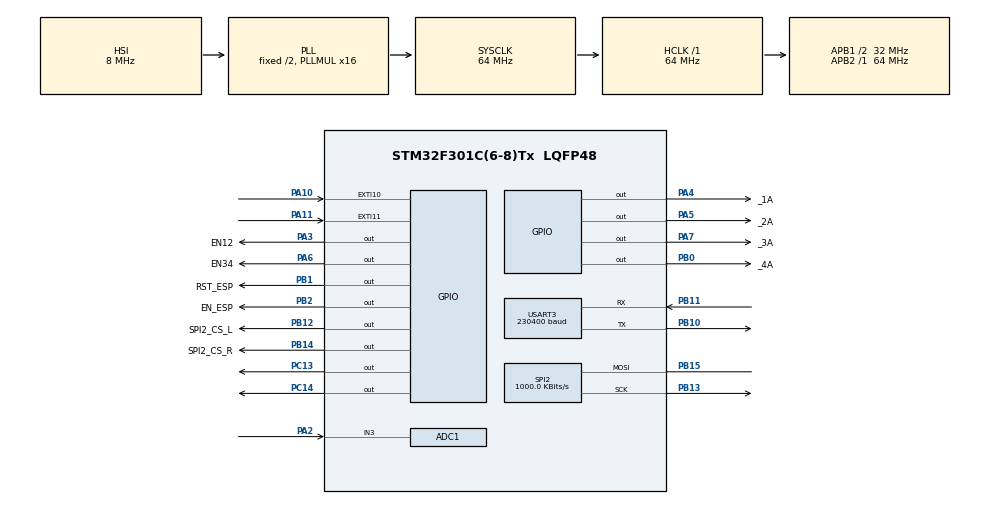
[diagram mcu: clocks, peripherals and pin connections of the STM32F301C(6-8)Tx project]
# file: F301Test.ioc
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ADC1.Channel-2\#ChannelRegularConversion=ADC_CHANNEL_3
ADC1.ClockPrescaler=ADC_CLOCK_ASYNC_DIV1
ADC1.ContinuousConvMode=ENABLE
ADC1.DMAContinuousRequests=DISABLE
ADC1.EOCSelection=ADC_EOC_SINGLE_CONV
ADC1.EnableAnalogWatchDog1=false
ADC1.NbrOfConversionFlag=1
ADC1.Offset-2\#ChannelRegularConversion=0
ADC1.OffsetNumber-2\#ChannelRegularConversion=ADC_OFFSET_NONE
ADC1.Rank-2\#ChannelRegularConversion=1
ADC1.Resolution=ADC_RESOLUTION_12B
ADC1.SamplingTime-2\#ChannelRegularConversion=ADC_SAMPLETIME_1CYCLE_5
ADC1.SamplingTimeOPAMP-2\#ChannelRegularConversion=ADC_SAMPLETIME_4CYCLES_5
ADC1.SubFamily=STM32F301x8
ADC1.master=1
Dma.Request0=USART3_RX
Dma.Request1=USART3_TX
Dma.USART3_RX.0.Direction=DMA_PERIPH_TO_MEMORY
Dma.USART3_RX.0.Instance=DMA1_Channel3
Dma.USART3_RX.0.MemDataAlignment=DMA_MDATAALIGN_BYTE
Dma.USART3_RX.0.MemInc=DMA_MINC_ENABLE
Dma.USART3_RX.0.Mode=DMA_CIRCULAR
Dma.USART3_RX.0.PeriphDataAlignment=DMA_PDATAALIGN_BYTE
Dma.USART3_RX.0.PeriphInc=DMA_PINC_DISABLE
Dma.USART3_RX.0.Priority=DMA_PRIORITY_HIGH
Dma.USART3_TX.1.Direction=DMA_MEMORY_TO_PERIPH
Dma.USART3_TX.1.Instance=DMA1_Channel2
Dma.USART3_TX.1.MemDataAlignment=DMA_MDATAALIGN_BYTE
Dma.USART3_TX.1.MemInc=DMA_MINC_ENABLE
Dma.USART3_TX.1.Mode=DMA_NORMAL
Dma.USART3_TX.1.PeriphDataAlignment=DMA_PDATAALIGN_BYTE
Dma.USART3_TX.1.PeriphInc=DMA_PINC_DISABLE
Dma.USART3_TX.1.Priority=DMA_PRIORITY_MEDIUM
FREERTOS.INCLUDE_xEventGroupSetBitFromISR=1
FREERTOS.INCLUDE_xTimerPendFunctionCall=1
FREERTOS.Tasks01=PS_Measure,0,96,psMeasure,Default,NULL,Dynamic,NULL,NULL;PC_13_LED,0,96,pc13LedCntrl,Default,NULL,Dynamic,NULL,NULL;PC_14_LED,0,96,pc14LedCntrl,Default,NULL,Dynamic,NULL,NULL;EspCommunication,1,256,espCommunication,Default,NULL,Dynamic,NULL,NULL;Accelerometer,0,96,accelerometer,Default,NULL,Dynamic,NULL,NULL
FREERTOS.configMAX_TASK_NAME_LEN=18
FREERTOS.configMINIMAL_STACK_SIZE=96
FREERTOS.configTOTAL_HEAP_SIZE=3840
FREERTOS.configUSE_TIMERS=1
Mcu.Family=STM32F3
Mcu.Name=STM32F301C(6-8)Tx
Mcu.Package=LQFP48
NVIC.DMA1_Channel2_IRQn=true\:5\:0\:false\:false\:true\:true\:false\:true\:true
NVIC.DMA1_Channel3_IRQn=true\:5\:0\:false\:false\:true\:true\:false\:true\:true
NVIC.EXTI15_10_IRQn=true\:5\:0\:false\:false\:true\:true\:true\:true\:true
NVIC.PriorityGroup=NVIC_PRIORITYGROUP_4
NVIC.TIM6_DAC_IRQn=true\:4\:0\:true\:false\:true\:false\:false\:true\:true
NVIC.TimeBase=TIM6_DAC_IRQn
NVIC.TimeBaseIP=TIM6
PA10.Signal=GPXTI10
PA11.Signal=GPXTI11
PA13.Mode=Serial_Wire
PA13.Signal=SYS_JTMS-SWDIO
PA14.Mode=Serial_Wire
PA14.Signal=SYS_JTCK-SWCLK
PA2.Mode=IN3-Single-Ended
PA2.Signal=ADC1_IN3
PA3.GPIO_Label=EN12
PA3.GPIO_Speed=GPIO_SPEED_FREQ_HIGH
PA3.Signal=GPIO_Output
PA4.GPIO_Label=_1A
PA4.GPIO_Speed=GPIO_SPEED_FREQ_HIGH
PA4.Signal=GPIO_Output
PA5.GPIO_Label=_2A
PA5.GPIO_Speed=GPIO_SPEED_FREQ_HIGH
PA5.Signal=GPIO_Output
PA6.GPIO_Label=EN34
PA6.GPIO_Speed=GPIO_SPEED_FREQ_HIGH
PA6.Signal=GPIO_Output
PA7.GPIO_Label=_3A
PA7.GPIO_Speed=GPIO_SPEED_FREQ_HIGH
PA7.Signal=GPIO_Output
PB0.GPIO_Label=_4A
PB0.GPIO_Speed=GPIO_SPEED_FREQ_HIGH
PB0.Signal=GPIO_Output
PB1.GPIO_Label=RST_ESP
PB1.Signal=GPIO_Output
PB10.Mode=Asynchronous
PB10.Signal=USART3_TX
PB11.Mode=Asynchronous
PB11.Signal=USART3_RX
PB12.GPIO_Label=SPI2_CS_L
PB12.GPIO_Speed=GPIO_SPEED_FREQ_MEDIUM
PB12.Signal=GPIO_Output
PB13.Mode=Simplex_Bidirectional_Master
PB13.Signal=SPI2_SCK
PB14.GPIO_Label=SPI2_CS_R
PB14.GPIO_Speed=GPIO_SPEED_FREQ_MEDIUM
PB14.Signal=GPIO_Output
PB15.Mode=Simplex_Bidirectional_Master
PB15.Signal=SPI2_MOSI
PB2.GPIO_Label=EN_ESP
PB2.Signal=GPIO_Output
PC13.Signal=GPIO_Output
PC14\ -\ OSC32_IN.Signal=GPIO_Output
ProjectManager.HeapSize=0x200
ProjectManager.StackSize=0x400
ProjectManager.TargetToolchain=STM32CubeIDE
RCC.ADC12PRES=RCC_ADC1PLLCLK_DIV2
RCC.AHBFreq_Value=64000000
RCC.APB1CLKDivider=RCC_HCLK_DIV2
RCC.APB1Freq_Value=32000000
RCC.APB1TimFreq_Value=64000000
RCC.APB2Freq_Value=64000000
RCC.APB2TimFreq_Value=64000000
RCC.CortexFreq_Value=64000000
RCC.HCLKFreq_Value=64000000
RCC.HSE_VALUE=8000000
RCC.HSI_VALUE=8000000
RCC.LSE_VALUE=32768
RCC.PLLMUL=RCC_PLL_MUL16
RCC.SYSCLKFreq_VALUE=64000000
RCC.SYSCLKSourceVirtual=RCC_SYSCLKSOURCE_PLLCLK
SPI2.BaudRatePrescaler=SPI_BAUDRATEPRESCALER_32
SPI2.CLKPhase=SPI_PHASE_2EDGE
SPI2.CLKPolarity=SPI_POLARITY_HIGH
SPI2.CalculateBaudRate=1000.0 KBits/s
SPI2.DataSize=SPI_DATASIZE_8BIT
SPI2.Direction=SPI_DIRECTION_1LINE
SPI2.Mode=SPI_MODE_MASTER
SPI2.VirtualType=VM_MASTER
TIM15.Period=400
TIM15.Prescaler=10
TIM17.AutoReloadPreload=TIM_AUTORELOAD_PRELOAD_ENABLE
TIM17.Period=100
TIM17.Prescaler=639
USART3.BaudRate=230400
USART3.VirtualMode-Asynchronous=VM_ASYNC
VP_FREERTOS_VS_CMSIS_V1.Mode=CMSIS_V1
VP_SYS_VS_tim6.Mode=TIM6
VP_TIM15_VS_ClockSourceINT.Mode=Internal
VP_TIM17_VS_ClockSourceINT.Mode=Enable_Timer
board=custom

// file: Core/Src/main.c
/* USER CODE BEGIN Header */
/**
  ******************************************************************************
  * @file           : main.c
  * @brief          : Main program body
  ******************************************************************************
  * @attention
  *
  * Copyright (c) 2023 STMicroelectronics.
  * All rights reserved.
  *
  * This software is licensed under terms that can be found in the LICENSE file
  * in the root directory of this software component.
  * If no LICENSE file comes with this software, it is provided AS-IS.
  *
  ******************************************************************************
  */
/* USER CODE END Header */
#include "main.h"
#include "cmsis_os.h"

/* USER CODE BEGIN Includes */
#include <string.h>
#include <stdio.h>
#include <math.h>
#include <espATcommands.h>
#include <adxl345.h>
/* USER CODE END Includes */

ADC_HandleTypeDef hadc1;

SPI_HandleTypeDef hspi2;

TIM_HandleTypeDef htim15;
TIM_HandleTypeDef htim17;

UART_HandleTypeDef huart3;
DMA_HandleTypeDef hdma_usart3_rx;
DMA_HandleTypeDef hdma_usart3_tx;

osThreadId PS_MeasureHandle;
osThreadId PC_13_LEDHandle;
osThreadId PC_14_LEDHandle;
osThreadId EspCommunicationHandle;
osThreadId AccelerometerHandle;
/* USER CODE BEGIN PV */
volatile uint16_t batteryVoltage[10]; // Battery voltage.
uint16_t avrBatVoltage;
uint8_t BatChargeState;
EventGroupHandle_t pc13EventGroup;
EventGroupHandle_t pc14EventGroup;

struct EncoderStr EncoderR, EncoderL;
struct SoftPWM SoftPwmR, SoftPwmL;

float kToRpm;

char txBuffer[ESPTXBUFFERSIZE];
volatile char rxBuffer[ESPRXBUFFERSIZE];
volatile uint16_t rxBufferHead;
uint8_t receivedBytes = 0;
char rxBufferCopy[256];

TimerHandle_t timerForDataSending;
EventGroupHandle_t timerFdsEventGroup;

//int8_t joyX;
//int8_t joyY;
float tSpeed;
float aSpeed;

int16_t accelValueR[3];
int16_t accelValueL[3];

uint32_t debugVar;
uint32_t debugVar2;

volatile uint32_t cycle_count;
/* USER CODE END PV */

void SystemClock_Config(void);
static void MX_GPIO_Init(void);
static void MX_DMA_Init(void);
static void MX_ADC1_Init(void);
static void MX_SPI2_Init(void);
static void MX_USART3_UART_Init(void);
static void MX_TIM15_Init(void);
static void MX_TIM17_Init(void);
void psMeasure(void const * argument);
void pc13LedCntrl(void const * argument);
void pc14LedCntrl(void const * argument);
void espCommunication(void const * argument);
void accelerometer(void const * argument);

/* USER CODE BEGIN PFP */
void ADC1_configuration(void);
void TIM1_configuration(void);
void TIM2_configuration(void);
void TIM15_additional_configuration(void);
void TIM17_additional_configuration(void);
void USART3_additional_configuration(void);

void timerForSendDataCallback(TimerHandle_t xTimer);

/* USER CODE END PFP */

int main(void)
{
  /* USER CODE BEGIN 1 */
	avrBatVoltage = 0;
	BatChargeState = 0;

//	EncoderR.timeNew = 0;
//	EncoderR.timeOld = 0;
//	EncoderR.timeUpdate = 0;
	EncoderR.positionNew = 0;
	EncoderR.positionOld = 0;
	EncoderR.posCntUpdate = 0;
	EncoderR.rpm = 0;
	EncoderR.pulses = 0;
	EncoderR.sumPulses = 0;
	EncoderR.iter = 0;

//	EncoderL.timeNew = 0;
//	EncoderL.timeOld = 0;
//	EncoderL.timeUpdate = 0;
	EncoderL.positionNew = 0;
	EncoderL.positionOld = 0;
	EncoderL.posCntUpdate = 0;
	EncoderL.rpm = 0;
	EncoderL.pulses = 0;

	SoftPwmR.errorValue = 0;
	SoftPwmR.sumValue = 0;
	SoftPwmR.pValue = 0;
	SoftPwmR.iValue = 0;
	SoftPwmR.pwmFloatValue = 0;
	SoftPwmR.WheelSpeed = 0;
	SoftPwmR.reqValueTemp = 0;
	SoftPwmR.curValue = 0;
	SoftPwmR.reqValue = 0;
	SoftPwmR.pwmValue = 0;
	SoftPwmR.status = 0;
	SoftPwmR.sumVal = 0;
	SoftPwmR.pVal = 0;
	SoftPwmR.iVal = 0;

	SoftPwmL.errorValue = 0;
	SoftPwmL.sumValue = 0;
	SoftPwmL.pValue = 0;
	SoftPwmL.iValue = 0;
	SoftPwmL.pwmFloatValue = 0;
	SoftPwmL.WheelSpeed = 0;
	SoftPwmL.reqValueTemp = 0;
	SoftPwmL.curValue = 0;
	SoftPwmL.reqValue = 0;
	SoftPwmL.pwmValue = 0;
	SoftPwmL.status = 0;
	SoftPwmL.sumVal = 0;
	SoftPwmL.pVal = 0;
	SoftPwmL.iVal = 0;

	kToRpm = (1000*60)/10240;

	memset(txBuffer, '\0', sizeof(txBuffer));
	memset(rxBuffer, '\0', sizeof(rxBuffer));
	rxBufferHead = 0;
	memset(rxBufferCopy, '\0', sizeof(rxBufferCopy));

//	joyX = 0;
//	joyY = 0;
	tSpeed = 0;
	aSpeed = 0;

	memset(accelValueR, '0', sizeof(accelValueR));
	memset(accelValueL, '0', sizeof(accelValueL));

	debugVar = 0;
	debugVar2 = 0;

	cycle_count = 0;

  /* USER CODE END 1 */

  /* MCU Configuration--------------------------------------------------------*/

  /* Reset of all peripherals, Initializes the Flash interface and the Systick. */
  HAL_Init();

  /* Configure the system clock */
  SystemClock_Config();

  /* Initialize all configured peripherals */
  MX_GPIO_Init();
  MX_DMA_Init();
  MX_ADC1_Init();
  MX_SPI2_Init();
  MX_USART3_UART_Init();
  MX_TIM15_Init();
  MX_TIM17_Init();
  /* USER CODE BEGIN 2 */
  ADC1_configuration();
  TIM1_configuration();
  TIM2_configuration();
  TIM17_additional_configuration();
  TIM15_additional_configuration();
  USART3_additional_configuration();

  GPIOA->ODR |= (1<<6); //EN34
  GPIOA->ODR |= (1<<3); //EN12

  DWT->CTRL |= (1<<0);  //Enable cycle counter
  DWT->CTRL |= (1<<0);  //Enable cycle counter

  pc13EventGroup = xEventGroupCreate();
  pc14EventGroup = xEventGroupCreate();
  timerFdsEventGroup = xEventGroupCreate();
  /* USER CODE END 2 */

  /* USER CODE BEGIN RTOS_TIMERS */
  /* start timers, add new ones, ... */
  timerForDataSending = xTimerCreate("TimerForDataSending", pdMS_TO_TICKS(211), pdTRUE, 1, timerForSendDataCallback); //211
  xTimerStart(timerForDataSending, portMAX_DELAY);
  /* USER CODE END RTOS_TIMERS */

  /* Create the thread(s) */
  /* definition and creation of PS_Measure */
  osThreadDef(PS_Measure, psMeasure, osPriorityNormal, 0, 96);
  PS_MeasureHandle = osThreadCreate(osThread(PS_Measure), NULL);

  /* definition and creation of PC_13_LED */
  osThreadDef(PC_13_LED, pc13LedCntrl, osPriorityNormal, 0, 96);
  PC_13_LEDHandle = osThreadCreate(osThread(PC_13_LED), NULL);

  /* definition and creation of PC_14_LED */
  osThreadDef(PC_14_LED, pc14LedCntrl, osPriorityNormal, 0, 96);
  PC_14_LEDHandle = osThreadCreate(osThread(PC_14_LED), NULL);

  /* definition and creation of EspCommunication */
  osThreadDef(EspCommunication, espCommunication, osPriorityAboveNormal, 0, 256);
  EspCommunicationHandle = osThreadCreate(osThread(EspCommunication), NULL);

  /* definition and creation of Accelerometer */
  osThreadDef(Accelerometer, accelerometer, osPriorityNormal, 0, 96);
  AccelerometerHandle = osThreadCreate(osThread(Accelerometer), NULL);

  /* Start scheduler */
  osKernelStart();

  /* We should never get here as control is now taken by the scheduler */
  /* Infinite loop */
  while (1)
  {

  }
}

void SystemClock_Config(void)
{
  RCC_OscInitTypeDef RCC_OscInitStruct = {0};
  RCC_ClkInitTypeDef RCC_ClkInitStruct = {0};
  RCC_PeriphCLKInitTypeDef PeriphClkInit = {0};

  /** Initializes the RCC Oscillators according to the specified parameters
  * in the RCC_OscInitTypeDef structure.
  */
  RCC_OscInitStruct.OscillatorType = RCC_OSCILLATORTYPE_HSI;
  RCC_OscInitStruct.HSIState = RCC_HSI_ON;
  RCC_OscInitStruct.HSICalibrationValue = RCC_HSICALIBRATION_DEFAULT;
  RCC_OscInitStruct.PLL.PLLState = RCC_PLL_ON;
  RCC_OscInitStruct.PLL.PLLSource = RCC_PLLSOURCE_HSI;
  RCC_OscInitStruct.PLL.PLLMUL = RCC_PLL_MUL16;
  if (HAL_RCC_OscConfig(&RCC_OscInitStruct) != HAL_OK)
  {
    Error_Handler();
  }

  /** Initializes the CPU, AHB and APB buses clocks
  */
  RCC_ClkInitStruct.ClockType = RCC_CLOCKTYPE_HCLK|RCC_CLOCKTYPE_SYSCLK
                              |RCC_CLOCKTYPE_PCLK1|RCC_CLOCKTYPE_PCLK2;
  RCC_ClkInitStruct.SYSCLKSource = RCC_SYSCLKSOURCE_PLLCLK;
  RCC_ClkInitStruct.AHBCLKDivider = RCC_SYSCLK_DIV1;
  RCC_ClkInitStruct.APB1CLKDivider = RCC_HCLK_DIV2;
  RCC_ClkInitStruct.APB2CLKDivider = RCC_HCLK_DIV1;

  if (HAL_RCC_ClockConfig(&RCC_ClkInitStruct, FLASH_LATENCY_2) != HAL_OK)
  {
    Error_Handler();
  }
  PeriphClkInit.PeriphClockSelection = RCC_PERIPHCLK_TIM15|RCC_PERIPHCLK_TIM17
                              |RCC_PERIPHCLK_ADC1;
  PeriphClkInit.Tim15ClockSelection = RCC_TIM15CLK_HCLK;
  PeriphClkInit.Tim17ClockSelection = RCC_TIM17CLK_HCLK;
  PeriphClkInit.Adc1ClockSelection = RCC_ADC1PLLCLK_DIV2;

  if (HAL_RCCEx_PeriphCLKConfig(&PeriphClkInit) != HAL_OK)
  {
    Error_Handler();
  }
}

static void MX_ADC1_Init(void)
{

  ADC_ChannelConfTypeDef sConfig = {0};

  /** Common config
  */
  hadc1.Instance = ADC1;
  hadc1.Init.ClockPrescaler = ADC_CLOCK_ASYNC_DIV1;
  hadc1.Init.Resolution = ADC_RESOLUTION_12B;
  hadc1.Init.ScanConvMode = ADC_SCAN_DISABLE;
  hadc1.Init.ContinuousConvMode = ENABLE;
  hadc1.Init.DiscontinuousConvMode = DISABLE;
  hadc1.Init.ExternalTrigConvEdge = ADC_EXTERNALTRIGCONVEDGE_NONE;
  hadc1.Init.ExternalTrigConv = ADC_SOFTWARE_START;
  hadc1.Init.DataAlign = ADC_DATAALIGN_RIGHT;
  hadc1.Init.NbrOfConversion = 1;
  hadc1.Init.DMAContinuousRequests = DISABLE;
  hadc1.Init.EOCSelection = ADC_EOC_SINGLE_CONV;
  hadc1.Init.LowPowerAutoWait = DISABLE;
  hadc1.Init.Overrun = ADC_OVR_DATA_OVERWRITTEN;
  if (HAL_ADC_Init(&hadc1) != HAL_OK)
  {
    Error_Handler();
  }

  /** Configure Regular Channel
  */
  sConfig.Channel = ADC_CHANNEL_3;
  sConfig.Rank = ADC_REGULAR_RANK_1;
  sConfig.SingleDiff = ADC_SINGLE_ENDED;
  sConfig.SamplingTime = ADC_SAMPLETIME_1CYCLE_5;
  sConfig.OffsetNumber = ADC_OFFSET_NONE;
  sConfig.Offset = 0;
  if (HAL_ADC_ConfigChannel(&hadc1, &sConfig) != HAL_OK)
  {
    Error_Handler();
  }

}

static void MX_SPI2_Init(void)
{

  /* SPI2 parameter configuration*/
  hspi2.Instance = SPI2;
  hspi2.Init.Mode = SPI_MODE_MASTER;
  hspi2.Init.Direction = SPI_DIRECTION_1LINE;
  hspi2.Init.DataSize = SPI_DATASIZE_8BIT;
  hspi2.Init.CLKPolarity = SPI_POLARITY_HIGH;
  hspi2.Init.CLKPhase = SPI_PHASE_2EDGE;
  hspi2.Init.NSS = SPI_NSS_SOFT;
  hspi2.Init.BaudRatePrescaler = SPI_BAUDRATEPRESCALER_32;
  hspi2.Init.FirstBit = SPI_FIRSTBIT_MSB;
  hspi2.Init.TIMode = SPI_TIMODE_DISABLE;
  hspi2.Init.CRCCalculation = SPI_CRCCALCULATION_DISABLE;
  hspi2.Init.CRCPolynomial = 7;
  hspi2.Init.CRCLength = SPI_CRC_LENGTH_DATASIZE;
  hspi2.Init.NSSPMode = SPI_NSS_PULSE_DISABLE;
  if (HAL_SPI_Init(&hspi2) != HAL_OK)
  {
    Error_Handler();
  }

}

static void MX_TIM15_Init(void)
{

  TIM_ClockConfigTypeDef sClockSourceConfig = {0};
  TIM_MasterConfigTypeDef sMasterConfig = {0};

  htim15.Instance = TIM15;
  htim15.Init.Prescaler = 10;
  htim15.Init.CounterMode = TIM_COUNTERMODE_UP;
  htim15.Init.Period = 400;
  htim15.Init.ClockDivision = TIM_CLOCKDIVISION_DIV1;
  htim15.Init.RepetitionCounter = 0;
  htim15.Init.AutoReloadPreload = TIM_AUTORELOAD_PRELOAD_DISABLE;
  if (HAL_TIM_Base_Init(&htim15) != HAL_OK)
  {
    Error_Handler();
  }
  sClockSourceConfig.ClockSource = TIM_CLOCKSOURCE_INTERNAL;
  if (HAL_TIM_ConfigClockSource(&htim15, &sClockSourceConfig) != HAL_OK)
  {
    Error_Handler();
  }
  sMasterConfig.MasterOutputTrigger = TIM_TRGO_RESET;
  sMasterConfig.MasterSlaveMode = TIM_MASTERSLAVEMODE_DISABLE;
  if (HAL_TIMEx_MasterConfigSynchronization(&htim15, &sMasterConfig) != HAL_OK)
  {
    Error_Handler();
  }

}

static void MX_TIM17_Init(void)
{

  htim17.Instance = TIM17;
  htim17.Init.Prescaler = 639;
  htim17.Init.CounterMode = TIM_COUNTERMODE_UP;
  htim17.Init.Period = 100;
  htim17.Init.ClockDivision = TIM_CLOCKDIVISION_DIV1;
  htim17.Init.RepetitionCounter = 0;
  htim17.Init.AutoReloadPreload = TIM_AUTORELOAD_PRELOAD_ENABLE;
  if (HAL_TIM_Base_Init(&htim17) != HAL_OK)
  {
    Error_Handler();
  }

}

static void MX_USART3_UART_Init(void)
{

  huart3.Instance = USART3;
  huart3.Init.BaudRate = 230400;
  huart3.Init.WordLength = UART_WORDLENGTH_8B;
  huart3.Init.StopBits = UART_STOPBITS_1;
  huart3.Init.Parity = UART_PARITY_NONE;
  huart3.Init.Mode = UART_MODE_TX_RX;
  huart3.Init.HwFlowCtl = UART_HWCONTROL_NONE;
  huart3.Init.OverSampling = UART_OVERSAMPLING_16;
  huart3.Init.OneBitSampling = UART_ONE_BIT_SAMPLE_DISABLE;
  huart3.AdvancedInit.AdvFeatureInit = UART_ADVFEATURE_NO_INIT;
  if (HAL_UART_Init(&huart3) != HAL_OK)
  {
    Error_Handler();
  }

}

static void MX_DMA_Init(void)
{

  /* DMA controller clock enable */
  __HAL_RCC_DMA1_CLK_ENABLE();

  /* DMA interrupt init */
  /* DMA1_Channel2_IRQn interrupt configuration */
  HAL_NVIC_SetPriority(DMA1_Channel2_IRQn, 5, 0);
  HAL_NVIC_EnableIRQ(DMA1_Channel2_IRQn);
  /* DMA1_Channel3_IRQn interrupt configuration */
  HAL_NVIC_SetPriority(DMA1_Channel3_IRQn, 5, 0);
  HAL_NVIC_EnableIRQ(DMA1_Channel3_IRQn);

}

static void MX_GPIO_Init(void)
{
  GPIO_InitTypeDef GPIO_InitStruct = {0};

  /* GPIO Ports Clock Enable */
  __HAL_RCC_GPIOC_CLK_ENABLE();
  __HAL_RCC_GPIOA_CLK_ENABLE();
  __HAL_RCC_GPIOB_CLK_ENABLE();

  /*Configure GPIO pin Output Level */
  HAL_GPIO_WritePin(GPIOC, GPIO_PIN_13|GPIO_PIN_14, GPIO_PIN_RESET);

  /*Configure GPIO pin Output Level */
  HAL_GPIO_WritePin(GPIOA, EN12_Pin|_1A_Pin|_2A_Pin|EN34_Pin
                          |_3A_Pin, GPIO_PIN_RESET);

  /*Configure GPIO pin Output Level */
  HAL_GPIO_WritePin(GPIOB, _4A_Pin|RST_ESP_Pin|EN_ESP_Pin|SPI2_CS_L_Pin
                          |SPI2_CS_R_Pin, GPIO_PIN_RESET);

  /*Configure GPIO pins : PC13 PC14 */
  GPIO_InitStruct.Pin = GPIO_PIN_13|GPIO_PIN_14;
  GPIO_InitStruct.Mode = GPIO_MODE_OUTPUT_PP;
  GPIO_InitStruct.Pull = GPIO_NOPULL;
  GPIO_InitStruct.Speed = GPIO_SPEED_FREQ_LOW;
  HAL_GPIO_Init(GPIOC, &GPIO_InitStruct);

  /*Configure GPIO pins : EN12_Pin _1A_Pin _2A_Pin EN34_Pin
                           _3A_Pin */
  GPIO_InitStruct.Pin = EN12_Pin|_1A_Pin|_2A_Pin|EN34_Pin
                          |_3A_Pin;
  GPIO_InitStruct.Mode = GPIO_MODE_OUTPUT_PP;
  GPIO_InitStruct.Pull = GPIO_NOPULL;
  GPIO_InitStruct.Speed = GPIO_SPEED_FREQ_HIGH;
  HAL_GPIO_Init(GPIOA, &GPIO_InitStruct);

  /*Configure GPIO pin : _4A_Pin */
  GPIO_InitStruct.Pin = _4A_Pin;
  GPIO_InitStruct.Mode = GPIO_MODE_OUTPUT_PP;
  GPIO_InitStruct.Pull = GPIO_NOPULL;
  GPIO_InitStruct.Speed = GPIO_SPEED_FREQ_HIGH;
  HAL_GPIO_Init(_4A_GPIO_Port, &GPIO_InitStruct);

  /*Configure GPIO pins : RST_ESP_Pin EN_ESP_Pin */
  GPIO_InitStruct.Pin = RST_ESP_Pin|EN_ESP_Pin;
  GPIO_InitStruct.Mode = GPIO_MODE_OUTPUT_PP;
  GPIO_InitStruct.Pull = GPIO_NOPULL;
  GPIO_InitStruct.Speed = GPIO_SPEED_FREQ_LOW;
  HAL_GPIO_Init(GPIOB, &GPIO_InitStruct);

  /*Configure GPIO pins : SPI2_CS_L_Pin SPI2_CS_R_Pin */
  GPIO_InitStruct.Pin = SPI2_CS_L_Pin|SPI2_CS_R_Pin;
  GPIO_InitStruct.Mode = GPIO_MODE_OUTPUT_PP;
  GPIO_InitStruct.Pull = GPIO_NOPULL;
  GPIO_InitStruct.Speed = GPIO_SPEED_FREQ_MEDIUM;
  HAL_GPIO_Init(GPIOB, &GPIO_InitStruct);

  /*Configure GPIO pins : PA10 PA11 */
  GPIO_InitStruct.Pin = GPIO_PIN_10|GPIO_PIN_11;
  GPIO_InitStruct.Mode = GPIO_MODE_IT_RISING;
  GPIO_InitStruct.Pull = GPIO_NOPULL;
  HAL_GPIO_Init(GPIOA, &GPIO_InitStruct);

  /* EXTI interrupt init*/
  HAL_NVIC_SetPriority(EXTI15_10_IRQn, 5, 0);
  HAL_NVIC_EnableIRQ(EXTI15_10_IRQn);

}

/* USER CODE BEGIN 4 */
void ADC1_configuration(void)
{
	//NVIC configuration
	NVIC->IP[11] |= 0x70; //Priority 7
//	NVIC->ISER[0] |= (1<<11); //Enable DMA1 channel 1 interrupt
	NVIC->IP[18] |= 0x70; //Priority 7
//	NVIC->ISER[0] |= (1<<18); //Enable ADC1 global interrupt
	//DMA configuration for ADC1
	RCC->AHBENR |= RCC_AHBENR_DMA1EN; // Enable the DMA1 clock
	DMA1_Channel1->CCR &= ~DMA_CCR_EN;

	DMA1_Channel1->CCR |= (1<<10); // Bits 11:10 MSIZE[1:0]: Memory size  01: 16-bits
	DMA1_Channel1->CCR |= (1<<8); // Bits 9:8 PSIZE[1:0]: Peripheral size  01: 16-bits
	DMA1_Channel1->CCR |= DMA_CCR_MINC;
	DMA1_Channel1->CCR |= DMA_CCR_CIRC;
	DMA1_Channel1->CCR |= DMA_CCR_TCIE;
	DMA1_Channel1->CCR &= ~DMA_CCR_HTIE;
	DMA1_Channel1->CCR &= ~DMA_CCR_TEIE;

	DMA1_Channel1->CNDTR = 10;
	DMA1_Channel1->CPAR = (uint32_t)&(ADC1->DR);
	DMA1_Channel1->CMAR = (uint32_t)&batteryVoltage[0];

	//  DMA1_Channel1->CCR |= DMA_CCR_EN;

	//ADC starting
//	MX_ADC1_Init();

//	ADC1->TR1 = 0;
//	ADC1->TR1 |= 2100;
//	ADC1->TR1 |= (2240 << 16);
//	ADC1->CFGR |= (3<<26); //Analog watchdog 1 channel selection
//	ADC1->CFGR |= ADC_CFGR_AWD1EN;  //Analog watchdog 1 enable on regular channels
//	ADC1->CFGR |= ADC_CFGR_AWD1SGL; //Analog watchdog 1 enabled on a single channel
//	ADC1->IER |= ADC_IER_AWD1IE; //Analog watchdog 1 interrupt enable
//	ADC1->CFGR |= ADC_CFGR_DMACFG;
//	ADC1->CFGR |= ADC_CFGR_DMAEN;
//	ADC1->CR |= ADC_CR_ADEN;
//	while((ADC1->ISR & ADC_ISR_ADRDY) != ADC_ISR_ADRDY) __asm__ volatile("NOP");
//	ADC1->CR |= ADC_CR_ADSTART;
//	HAL_Delay(20);
//	DMA1_Channel1->CCR |= DMA_CCR_EN;
	__asm__ volatile("NOP");
	if(batteryVoltage[0] == 0) {
		if((ADC1->CR & ADC_CR_ADEN) == ADC_CR_ADEN) {
			DMA1_Channel1->CCR &= ~DMA_CCR_EN;
			ADC1->CR |= ADC_CR_ADSTP;
			while((ADC1->CR & ADC_CR_ADSTP) == ADC_CR_ADSTP) __asm__ volatile("NOP");
			HAL_Delay(5);
			ADC1->CR |= ADC_CR_ADDIS;
			while((ADC1->CR & ADC_CR_ADDIS) == ADC_CR_ADDIS) __asm__ volatile("NOP");
			HAL_Delay(20);
		}
		MX_ADC1_Init();
		ADC1->CFGR |= ADC_CFGR_DMACFG;
		ADC1->CFGR |= ADC_CFGR_DMAEN;
		ADC1->CR |= ADC_CR_ADEN;
		while((ADC1->ISR & ADC_ISR_ADRDY) != ADC_ISR_ADRDY) __asm__ volatile("NOP");
		ADC1->CR |= ADC_CR_ADSTART;
		HAL_Delay(20);
		DMA1_Channel1->CCR |= DMA_CCR_EN;
		__asm__ volatile("NOP");
	}
	return;
}

void TIM1_configuration(void)
{
    // Enable the TIM1 clock
    RCC->APB2ENR |= RCC_APB2ENR_TIM1EN;

    // Configure GPIO pins for TIM1 PA9-CH2 and PA8-CH1
    GPIOA->MODER |= (1<<17);
    GPIOA->MODER |= (1<<19);
    GPIOA->PUPDR |= (1<<17); //Pull-down
    GPIOA->PUPDR |= (1<<19); //Pull-down
    GPIOA->AFR[1] |= (6); //AF6
    GPIOA->AFR[1] |= (6<<4); //AF6

    // Configure TIM1
	TIM1->CR1 |= TIM_CR1_ARPE; //ARPE: Auto-reload preload enable
	TIM1->SMCR |= (TIM_SMCR_SMS_1 | TIM_SMCR_SMS_0); // Encoder mode 3
	TIM1->DIER |= TIM_DIER_UIE; //UIE: Update interrupt enable

	TIM1->CCMR1 |= (1<<0);
	TIM1->CCMR1 |= (1<<8);
	TIM1->CCER |= (1<<0);
	TIM1->CCER |= (1<<4);

    // Enable the TIM1 interrupt
    NVIC_EnableIRQ(TIM1_UP_TIM16_IRQn);

    // Set priority for the TIM1 interrupt
    NVIC_SetPriority(TIM1_UP_TIM16_IRQn, 5); // Adjust priority as needed

//    TIM1->CNT = PRELOADENC;
//    TIM1->PSC = 7; //7+1 = 8
    // Enable the TIM1 counter
    TIM1->CR1 |= TIM_CR1_CEN;
}

void TIM2_configuration(void)
{
    // Enable the TIM2 clock
    RCC->APB1ENR |= RCC_APB1ENR_TIM2EN;

    // Configure GPIO pins for TIM2 PA1-CH2 and PA0-CH1
    GPIOA->MODER |= (1<<1);
    GPIOA->MODER |= (1<<3);
    GPIOA->PUPDR |= (1<<1); //Pull-down
    GPIOA->PUPDR |= (1<<3); //Pull-down
    GPIOA->AFR[0] |= (1); //AF1
    GPIOA->AFR[0] |= (1<<4); //AF1

    // Configure TIM2
	TIM2->CR1 |= TIM_CR1_ARPE; //ARPE: Auto-reload preload enable
	TIM2->SMCR |= (TIM_SMCR_SMS_1 | TIM_SMCR_SMS_0); // Encoder mode 3
	TIM2->DIER |= TIM_DIER_UIE; //UIE: Update interrupt enable

	TIM2->CCMR1 |= (1<<0);
	TIM2->CCMR1 |= (1<<8);
	TIM2->CCER |= (1<<0);
	TIM2->CCER |= (1<<4);

//	TIM2->PSC = 7; //7+1 = 8
	TIM2->ARR = 0xFFFF; //65535

    // Enable the TIM2 interrupt
    NVIC_EnableIRQ(TIM2_IRQn);

    // Set priority for the TIM2 interrupt
    NVIC_SetPriority(TIM2_IRQn, 5); // Adjust priority as needed

    // Enable the TIM2 counter
    TIM2->CR1 |= TIM_CR1_CEN;
}

void TIM15_additional_configuration(void)
{
	TIM15->DIER |= TIM_DIER_CC1IE;
	TIM15->DIER |= TIM_DIER_CC2IE;
	TIM15->DIER |= TIM_DIER_UIE; //UIE: Update interrupt enable

    // Enable the TIM15 interrupt
    NVIC_EnableIRQ(TIM1_BRK_TIM15_IRQn);
    // Set priority for the TIM15 interrupt
    NVIC_SetPriority(TIM1_BRK_TIM15_IRQn, 5);

	TIM15->CR1 |= TIM_CR1_CEN;
}

void TIM17_additional_configuration(void)
{
	TIM17->DIER |= TIM_DIER_UIE; //UIE: Update interrupt enable

    // Enable the TIM17 interrupt
    NVIC_EnableIRQ(TIM1_TRG_COM_TIM17_IRQn);
    // Set priority for the TIM17 interrupt
    NVIC_SetPriority(TIM1_TRG_COM_TIM17_IRQn, 5);

	TIM17->CR1 |= TIM_CR1_CEN;
}

void USART3_additional_configuration(void)
{
	//DMA configuration for UART3
	RCC->AHBENR |= RCC_AHBENR_DMA1EN; // Enable the DMA1 clock

	DMA1_Channel3->CCR &= ~DMA_CCR_EN;

	DMA1_Channel3->CCR |= DMA_CCR_MINC;
	DMA1_Channel3->CCR |= DMA_CCR_CIRC;
	DMA1_Channel3->CCR &= ~DMA_CCR_TCIE;
	DMA1_Channel3->CCR &= ~DMA_CCR_HTIE;
	DMA1_Channel3->CCR &= ~DMA_CCR_TEIE;

	DMA1_Channel3->CNDTR = ESPRXBUFFERSIZE;
	DMA1_Channel3->CPAR = (uint32_t)&(USART3->RDR);
	DMA1_Channel3->CMAR = (uint32_t)&rxBuffer[0];

	USART3->CR3 &= ~USART_CR3_DMAR;
	DMA1_Channel3->CCR &= ~DMA_CCR_EN;

	DMA1_Channel2->CCR &= ~DMA_CCR_EN;

	DMA1_Channel2->CCR |= DMA_CCR_MINC;
	DMA1_Channel2->CCR &= ~DMA_CCR_CIRC;
	DMA1_Channel2->CCR |= DMA_CCR_DIR;
	DMA1_Channel2->CCR |= DMA_CCR_TCIE;
	DMA1_Channel2->CCR &= ~DMA_CCR_HTIE;
	DMA1_Channel2->CCR &= ~DMA_CCR_TEIE;

	DMA1_Channel2->CNDTR = 0;
	DMA1_Channel2->CPAR = (uint32_t)&(USART3->TDR);
	DMA1_Channel2->CMAR = (uint32_t)&txBuffer[0];

	USART3->CR3 &= ~USART_CR3_DMAT;
	DMA1_Channel2->CCR &= ~DMA_CCR_EN;
}

void timerForSendDataCallback(TimerHandle_t xTimer)
{
	xEventGroupSetBits(timerFdsEventGroup, 0x1);
}

/* USER CODE END 4 */

void psMeasure(void const * argument)
{
  /* USER CODE BEGIN 5 */

  /* Infinite loop */
  for(;;)
  {
    osDelay(8);

    for(uint8_t i = 0; i < (sizeof(batteryVoltage)/sizeof(batteryVoltage[0])); i++) {
    	avrBatVoltage += batteryVoltage[i];
    }
    avrBatVoltage = avrBatVoltage / (sizeof(batteryVoltage)/sizeof(batteryVoltage[0]));
    BatChargeState = ((float)(avrBatVoltage - BATMINV)/(BATMAXV - BATMINV))*100;

    if(avrBatVoltage > BATMAXV) {
    	xEventGroupClearBits(pc13EventGroup, 0xFFFFFF);
    	xEventGroupSetBits(pc13EventGroup, OVERVOLTAGEONLED);
    	xEventGroupClearBits(pc14EventGroup, 0xFFFFFF);
    	xEventGroupSetBits(pc14EventGroup, OVERVOLTAGEONLED);
    	__asm__ volatile("NOP");
    } else if(avrBatVoltage < BATMINV) {
    	xEventGroupClearBits(pc13EventGroup, 0xFFFFFF);
    	xEventGroupSetBits(pc13EventGroup, UNDERVOLTAGEONLED);
    	xEventGroupClearBits(pc14EventGroup, 0xFFFFFF);
    	xEventGroupSetBits(pc14EventGroup, UNDERVOLTAGEONLED);
    	__asm__ volatile("NOP");
    } else {
    	xEventGroupClearBits(pc13EventGroup, 0xFFFFFF);
    	xEventGroupClearBits(pc14EventGroup, 0xFFFFFF);
    	__asm__ volatile("NOP");
    }
  }
  /* USER CODE END 5 */
}

void pc13LedCntrl(void const * argument)
{
  /* USER CODE BEGIN pc13LedCntrl */
	EventBits_t eventBits;
  /* Infinite loop */
  for(;;)
  {
    osDelay(1);
    eventBits = xEventGroupGetBits(pc13EventGroup);
    switch (eventBits) {
		case OVERVOLTAGEONLED:
			osDelay(200);
			GPIOC->ODR ^= GPIO_ODR_13;
			__asm__ volatile("NOP");
			break;
		case UNDERVOLTAGEONLED:
			osDelay(300);
			GPIOC->ODR ^= GPIO_ODR_13;
			__asm__ volatile("NOP");
			break;
		default:
			GPIOC->ODR &= ~GPIO_ODR_13;
			osDelay(200);
			__asm__ volatile("NOP");
			break;
	}
  }
  /* USER CODE END pc13LedCntrl */
}

void pc14LedCntrl(void const * argument)
{
  /* USER CODE BEGIN pc14LedCntrl */
	EventBits_t eventBits;
  /* Infinite loop */
  for(;;)
  {
    osDelay(1);
    eventBits = xEventGroupGetBits(pc14EventGroup);
    switch (eventBits) {
		case OVERVOLTAGEONLED:
			osDelay(200);
			GPIOC->ODR ^= GPIO_ODR_14;
			__asm__ volatile("NOP");
			break;
		case UNDERVOLTAGEONLED:
			osDelay(300);
			GPIOC->ODR ^= GPIO_ODR_14;
			__asm__ volatile("NOP");
			break;
		default:
			GPIOC->ODR &= ~GPIO_ODR_14;
			osDelay(200);
			__asm__ volatile("NOP");
			break;
	}
  }
  /* USER CODE END pc14LedCntrl */
}

void espCommunication(void const * argument)
{
  /* USER CODE BEGIN espCommunication */
	vTaskDelay( pdMS_TO_TICKS( 600 ) );
	NVIC_DisableIRQ(TIM1_BRK_TIM15_IRQn);
	taskENTER_CRITICAL();
	  GPIOB->ODR |= (1<<1); //RST_ESP
	  GPIOB->ODR |= (1<<2); //EN_ESP
	  sprintf(txBuffer, "AT\r\n");
	  char controlAnsw[] = "AT\r\r\n\r\nOK\r\n";
	  while(strcmp(rxBuffer, controlAnsw) != 0) {
		  HAL_UART_Transmit(&huart3, (uint8_t*)txBuffer, strlen(txBuffer), 250);
		  HAL_UART_Receive(&huart3, (uint8_t*)rxBuffer, strlen(controlAnsw), 250);
		  vTaskDelay( pdMS_TO_TICKS( 100 ) );
		  __asm__ volatile("NOP");
	  }

	  sprintf(txBuffer, "AT+CWMODE_CUR=1\r\n");
	  sendATCommand(&huart3, "AT+CWMODE_CUR=1\r\n", strlen(txBuffer) , 250);
	  receiveAnswer(&huart3, rxBuffer, sizeof(rxBuffer), 250);

	  sprintf(txBuffer, "AT+CWJAP_CUR=\"RedmiGiGidra\",\"DimaDimaDimon\"\r\n");
	  sendATCommand(&huart3, txBuffer, strlen(txBuffer), 1000);
	  receiveAnswer(&huart3, rxBuffer, sizeof(rxBuffer), 10000);

	  taskEXIT_CRITICAL();

	  memset(rxBuffer, '\0', sizeof(rxBuffer));
	  USART3->CR3 |= USART_CR3_DMAR;
	  DMA1_Channel3->CCR |= DMA_CCR_EN; //Starting continuous DMA on RX

	  vTaskDelay( pdMS_TO_TICKS( 2000 ) );

	  sprintf(txBuffer, "ATE0\r\n");
	  sendATCommand(&huart3, txBuffer, strlen(txBuffer), 250);
	  vTaskDelay( pdMS_TO_TICKS( 100 ) );

	  sprintf(txBuffer, "AT+CIPCLOSE\r\n");
	  sendATCommand(&huart3, txBuffer, strlen(txBuffer), 250);
	  vTaskDelay( pdMS_TO_TICKS( 250 ) );

	  sprintf(txBuffer, "AT+CIPSTART=\"TCP\",\"192.168.137.1\",8080\r\n");
	  sendATCommand(&huart3, txBuffer, strlen(txBuffer), 250);
	  vTaskDelay( pdMS_TO_TICKS( 40 ) );

	  memset(txBuffer, '\0', sizeof(txBuffer));
      // Creating the entire GET request string
	  sprintf(txBuffer, "GET /robot HTTP/1.1\r\n"
						  "Host: 192.168.137.1\r\n");
	  int getRequestLength = strlen(txBuffer);
	  char pDataBuf[20];
	  sprintf(pDataBuf, "AT+CIPSEND=%d\r\n", getRequestLength);
	  sendATCommand(&huart3, pDataBuf, sizeof(pDataBuf), 250);
	  vTaskDelay( pdMS_TO_TICKS( 10 ) );
	  sendATCommand(&huart3, txBuffer, getRequestLength, 250);

	  memset(txBuffer, '\0', sizeof(txBuffer));
	  vTaskDelay( pdMS_TO_TICKS( 50 ) );

	  NVIC_EnableIRQ(TIM1_BRK_TIM15_IRQn);
	  __asm__ volatile("NOP");

  /* Infinite loop */
  for(;;)
  {
	  debugVar = 1;
	  // Calculate the number of bytes received since the last processing
//	  uint8_t receivedBytes = 0;
	  if((ESPRXBUFFERSIZE - DMA1_Channel3->CNDTR) < rxBufferHead) {
		  receivedBytes = (ESPRXBUFFERSIZE - rxBufferHead + ESPRXBUFFERSIZE - DMA1_Channel3->CNDTR) % ESPRXBUFFERSIZE;
	  } else {
		  receivedBytes = (ESPRXBUFFERSIZE - DMA1_Channel3->CNDTR -rxBufferHead) % ESPRXBUFFERSIZE;
	  }

	  uint16_t sizeRxBufCopy = sizeof(rxBufferCopy);
	  memset(rxBufferCopy, '\0', sizeRxBufCopy);
	  for(uint16_t i = 0; i < receivedBytes; i++) {
		  rxBufferCopy[i] = rxBuffer[(rxBufferHead + i)%sizeRxBufCopy];
	  }

	  debugVar = 5;

	  // Process the received data
	  for(uint16_t i = 0; i < receivedBytes; i++) {
		  debugVar = 6;
		  debugVar2 = i;
		  if((rxBuffer[(rxBufferHead + i)%ESPRXBUFFERSIZE] == 'T') &&
		     (rxBuffer[(rxBufferHead + i + 1)%ESPRXBUFFERSIZE] == 'S') &&
			 (rxBuffer[(rxBufferHead + i + 2)%ESPRXBUFFERSIZE] == 'P')) {
			  if(rxBuffer[(rxBufferHead + i + 3)%ESPRXBUFFERSIZE] == '-') {
				  if(rxBuffer[(rxBufferHead + i + 8)%ESPRXBUFFERSIZE] != '_') continue;
			  } else {
				  if(rxBuffer[(rxBufferHead + i + 7)%ESPRXBUFFERSIZE] != '_') continue;
			  }
			  tSpeed = parseFloat(rxBuffer, ((rxBufferHead + i + 3)%ESPRXBUFFERSIZE));
		  }
		  debugVar = 10;
		  if((rxBuffer[(rxBufferHead + i)%ESPRXBUFFERSIZE] == 'A') &&
		     (rxBuffer[(rxBufferHead + i + 1)%ESPRXBUFFERSIZE] == 'S') &&
			 (rxBuffer[(rxBufferHead + i + 2)%ESPRXBUFFERSIZE] == 'P')) {
			  if(rxBuffer[(rxBufferHead + i + 3)%ESPRXBUFFERSIZE] == '-') {
				  if(rxBuffer[(rxBufferHead + i + 8)%ESPRXBUFFERSIZE] != '_') continue;
			  } else {
				  if(rxBuffer[(rxBufferHead + i + 7)%ESPRXBUFFERSIZE] != '_') continue;
			  }
			  aSpeed = parseFloat(rxBuffer, ((rxBufferHead + i + 3)%ESPRXBUFFERSIZE));
		  }

		  debugVar = 12;
		  if((rxBuffer[(rxBufferHead + i)%ESPRXBUFFERSIZE] == 'E') &&
		     (rxBuffer[(rxBufferHead + i + 1)%ESPRXBUFFERSIZE] == 'R') &&
			 (rxBuffer[(rxBufferHead + i + 2)%ESPRXBUFFERSIZE] == 'R') &&
			 (rxBuffer[(rxBufferHead + i + 3)%ESPRXBUFFERSIZE] == 'O') &&
			 (rxBuffer[(rxBufferHead + i + 4)%ESPRXBUFFERSIZE] == 'R')) {
			  debugVar = 121;
			  espRecon(&huart3);
		  }
		  debugVar = 13;
	  }

	  debugVar = 15;
      // Update the buffer head index
      rxBufferHead = ((rxBufferHead + receivedBytes) % ESPRXBUFFERSIZE);

      if(xEventGroupGetBitsFromISR(timerFdsEventGroup) == 0x1) {
    	  debugVar = 20;
    	    // Create the JSON content with variable values
    	    sprintf(txBuffer, "POST /robot_data HTTP/1.1\r\n"
    	                         "Host: 192.168.137.1\r\n"
    	                         "Content-Type: application/json\r\n"
//    	                         "Content-Length: %d\r\n\r\n"
    	                         "{\"avrBatVoltage\": \"%d\", \"EncoderR.rpm\": \"%d\", \"EncoderL.rpm\": \"%d\", \"SoftPwmR.pwmValue\": \"%d\", \"SoftPwmL.pwmValue\": \"%d\", \"tSpeed\": \"%f\", \"aSpeed\": \"%f\", \"rReqValue\": \"%d\", \"lReqValue\": \"%d\", \"accelRX\": \"%d\", \"accelRY\": \"%d\", \"accelRZ\": \"%d\", \"accelLX\": \"%d\", \"accelLY\": \"%d\", \"accelLZ\": \"%d\", \"cycle_count\": \"%d\"}",
								 BatChargeState, EncoderR.rpm, EncoderL.rpm, SoftPwmR.pwmValue, SoftPwmL.pwmValue, tSpeed, aSpeed, SoftPwmR.reqValue, SoftPwmL.reqValue, accelValueR[0], accelValueR[1], accelValueR[2], accelValueL[0], accelValueL[1], accelValueL[2], cycle_count);

    	    // Calculate the number of characters in the POST request
    	    int postRequestLength = strlen(txBuffer);
    	    debugVar = 25;
    	  sprintf(pDataBuf, "AT+CIPSEND=%d\r\n", postRequestLength);
    	  while(atSend_USART3_DMA(pDataBuf, strlen(pDataBuf)) != 0) {
    	    vTaskDelay( pdMS_TO_TICKS( 10 ) );
    	  }
    	  debugVar = 30;
    	  while(atSend_USART3_DMA(txBuffer, postRequestLength) != 0) {
    	    vTaskDelay( pdMS_TO_TICKS( 10 ) );
    	  }
    	  debugVar = 35;
    	  xEventGroupClearBits(timerFdsEventGroup, 0xFFFFFF);
      }

	  vTaskDelay( pdMS_TO_TICKS( 25 ) );
  }
  /* USER CODE END espCommunication */
}

void accelerometer(void const * argument)
{
  /* USER CODE BEGIN accelerometer */
	vTaskDelay(120);
	adxl345_bw_rate_setup(&hspi2, GPIOB, 14, 0xA);
	vTaskDelay(20);
	adxl345_data_format(&hspi2, GPIOB, 14, 0x42);
	vTaskDelay(20);
	adxl345_measure_mode(&hspi2, GPIOB, 14);
	vTaskDelay(20);
	adxl345_bw_rate_setup(&hspi2, GPIOB, 12, 0xA);
	vTaskDelay(20);
	adxl345_data_format(&hspi2, GPIOB, 12, 0x42);
	vTaskDelay(20);
	adxl345_measure_mode(&hspi2, GPIOB, 12);
  /* Infinite loop */
  for(;;)
  {
	  adxl345_read_data(&hspi2, GPIOB, 14, (uint8_t*)accelValueR);
	  adxl345_read_data(&hspi2, GPIOB, 12, (uint8_t*)accelValueL);
	  vTaskDelay(20);
  }
  /* USER CODE END accelerometer */
}

void HAL_TIM_PeriodElapsedCallback(TIM_HandleTypeDef *htim)
{
  if (htim->Instance == TIM6) {
    HAL_IncTick();
  }
}

void Error_Handler(void)
{
  __disable_irq();
  while (1)
  {
  }
}
